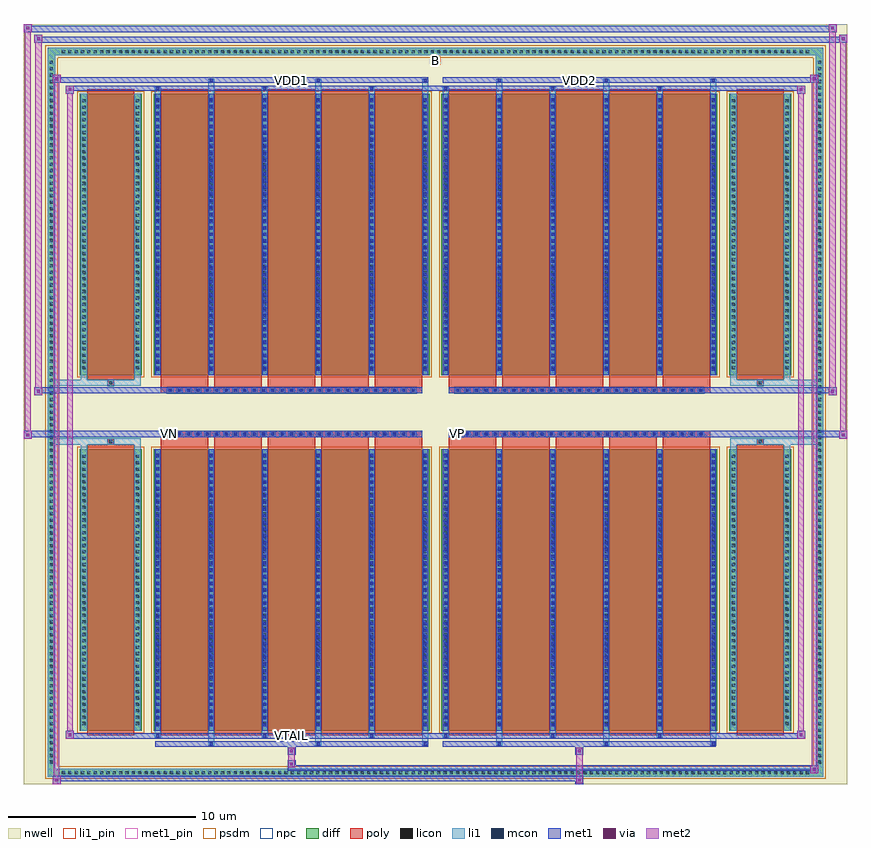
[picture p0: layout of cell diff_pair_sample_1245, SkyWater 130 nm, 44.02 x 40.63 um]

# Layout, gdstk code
import gdstk
lib = gdstk.Library(unit=1e-6, precision=5e-09)
def R(c, l, rs):  # rectangles x0, y0, x1, y1
    for r in rs: c.add(gdstk.rectangle(r[:2], r[2:], *l))
def A(c, l, x, y, w, h, nx, ny, dx, dy):  # array of equal rectangles
    R(c, l, [(x+i*dx, y+j*dy, x+i*dx+w, y+j*dy+h) for i in range(nx) for j in range(ny)])
def P(c, l, *ps):  # polygons
    for p in ps: c.add(gdstk.Polygon(p, *l))
nwell = (64, 20)
diff = (65, 20)
poly = (66, 20)
licon = (66, 44)
li1_pin = (67, 16)
li1 = (67, 20)
mcon = (67, 44)
met1_pin = (68, 16)
met1 = (68, 20)
via = (68, 44)
met2 = (69, 20)
psdm = (94, 20)
npc = (95, 20)

diff_pair_sample_1245 = lib.new_cell('diff_pair_sample_1245')
R(diff_pair_sample_1245, nwell, [(-22.01,-19.88,22.01,20.75), (-19.33,-18.07,-0.01,-0.805), (0.01,-18.07,19.33,-0.805), (-19.33,0.805,-0.01,18.07), (0.01,0.805,19.33,18.07)])
A(diff_pair_sample_1245, diff, -20.095, -19.48, 0.41, 0.41, 118, 2, 0.34, 38.55)
A(diff_pair_sample_1245, diff, -20.74, -18.905, 0.41, 0.41, 1, 111, 0, 0.34)
A(diff_pair_sample_1245, diff, 20.33, -18.905, 0.41, 0.41, 1, 111, 0, 0.34)
R(diff_pair_sample_1245, diff, [(-20.095,-19.48,20.095,-19.07), (-20.74,-18.905,-20.33,18.905), (20.33,-18.905,20.74,18.905), (-19.02,-17.025,-15.71,-1.985), (-15.07,-17.025,-0.32,-1.985), (0.32,-17.025,15.07,-1.985), (15.71,-17.025,19.02,-1.985), (-19.02,1.985,-15.71,17.025), (-15.07,1.985,-0.32,17.025), (0.32,1.985,15.07,17.025), (15.71,1.985,19.02,17.025), (-20.095,19.07,20.095,19.48)])
P(diff_pair_sample_1245, diff, [(20.74,19.48),(-20.74,19.48),(-20.74,-19.07),(-20.33,-19.07),(-20.33,19.07),(20.33,19.07),(20.33,-19.07),(-20.33,-19.07),(-20.74,-19.07),(-20.74,-19.48),(20.74,-19.48)])
A(diff_pair_sample_1245, poly, -14.68, -17.275, 2.53, 15.54, 5, 2, 2.86, 19.01)
A(diff_pair_sample_1245, poly, 0.71, -17.275, 2.53, 15.54, 5, 2, 2.86, 19.01)
A(diff_pair_sample_1245, poly, -14.68, -1.735, 2.53, 0.4, 5, 2, 2.86, 3.07)
A(diff_pair_sample_1245, poly, 0.71, -1.735, 2.53, 0.4, 5, 2, 2.86, 3.07)
A(diff_pair_sample_1245, poly, -14.36, -1.335, 0.33, 0.33, 27, 2, 0.5, 2.34)
A(diff_pair_sample_1245, poly, 1.03, -1.335, 0.33, 0.33, 27, 2, 0.5, 2.34)
R(diff_pair_sample_1245, poly, [(-18.63,-17.275,-16.1,-1.735), (16.1,-17.275,18.63,-1.735), (-17.53,-1.735,-17.2,-1.405), (-17.53,-1.735,-17.2,-1.405), (17.2,-1.735,17.53,-1.405), (17.2,-1.735,17.53,-1.405), (-14.68,-1.335,-0.71,-1.005), (0.71,-1.335,14.68,-1.005), (-14.68,1.005,-0.71,1.335), (0.71,1.005,14.68,1.335), (-17.53,1.405,-17.2,1.735), (-17.53,1.405,-17.2,1.735), (17.2,1.405,17.53,1.735), (17.2,1.405,17.53,1.735), (-18.63,1.735,-16.1,17.275), (16.1,1.735,18.63,17.275)])
A(diff_pair_sample_1245, licon, -19.975, -19.36, 0.17, 0.17, 118, 2, 0.34, 38.55)
A(diff_pair_sample_1245, licon, -20.62, -18.785, 0.17, 0.17, 1, 111, 0, 0.34)
A(diff_pair_sample_1245, licon, 20.45, -18.785, 0.17, 0.17, 1, 111, 0, 0.34)
A(diff_pair_sample_1245, licon, -18.88, -16.73, 0.17, 0.17, 1, 43, 0, 0.34)
A(diff_pair_sample_1245, licon, -16.02, -16.73, 0.17, 0.17, 1, 43, 0, 0.34)
A(diff_pair_sample_1245, licon, -14.93, -16.73, 0.17, 0.17, 6, 43, 2.86, 0.34)
A(diff_pair_sample_1245, licon, 0.46, -16.73, 0.17, 0.17, 6, 43, 2.86, 0.34)
A(diff_pair_sample_1245, licon, 15.85, -16.73, 0.17, 0.17, 1, 43, 0, 0.34)
A(diff_pair_sample_1245, licon, 18.71, -16.73, 0.17, 0.17, 1, 43, 0, 0.34)
A(diff_pair_sample_1245, licon, -14.28, -1.255, 0.17, 0.17, 27, 2, 0.5, 2.34)
A(diff_pair_sample_1245, licon, 1.11, -1.255, 0.17, 0.17, 27, 2, 0.5, 2.34)
A(diff_pair_sample_1245, licon, -18.88, 2.28, 0.17, 0.17, 1, 43, 0, 0.34)
A(diff_pair_sample_1245, licon, -16.02, 2.28, 0.17, 0.17, 1, 43, 0, 0.34)
A(diff_pair_sample_1245, licon, -14.93, 2.28, 0.17, 0.17, 6, 43, 2.86, 0.34)
A(diff_pair_sample_1245, licon, 0.46, 2.28, 0.17, 0.17, 6, 43, 2.86, 0.34)
A(diff_pair_sample_1245, licon, 15.85, 2.28, 0.17, 0.17, 1, 43, 0, 0.34)
A(diff_pair_sample_1245, licon, 18.71, 2.28, 0.17, 0.17, 1, 43, 0, 0.34)
R(diff_pair_sample_1245, licon, [(-17.45,-1.655,-17.28,-1.485), (17.28,-1.655,17.45,-1.485), (-17.45,1.485,-17.28,1.655), (17.28,1.485,17.45,1.655)])
R(diff_pair_sample_1245, li1_pin, [(-0.25,18.57,0.25,19.07)])
A(diff_pair_sample_1245, li1, -20.055, -19.44, 0.33, 0.33, 118, 2, 0.34, 38.55)
A(diff_pair_sample_1245, li1, -20.7, -18.865, 0.33, 0.33, 1, 111, 0, 0.34)
A(diff_pair_sample_1245, li1, 20.37, -18.865, 0.33, 0.33, 1, 111, 0, 0.34)
A(diff_pair_sample_1245, li1, -12.15, -17.83, 0.33, 0.805, 3, 2, 5.72, 34.855)
A(diff_pair_sample_1245, li1, -12.07, -17.83, 0.17, 0.17, 3, 2, 5.72, 35.49)
A(diff_pair_sample_1245, li1, 3.24, -17.83, 0.33, 0.805, 3, 2, 5.72, 34.855)
A(diff_pair_sample_1245, li1, 3.32, -17.83, 0.17, 0.17, 3, 2, 5.72, 35.49)
A(diff_pair_sample_1245, li1, -15.01, -17.4, 0.33, 0.375, 3, 2, 5.72, 34.425)
A(diff_pair_sample_1245, li1, -14.93, -17.4, 0.17, 0.17, 3, 2, 5.72, 34.63)
A(diff_pair_sample_1245, li1, 0.38, -17.4, 0.33, 0.375, 3, 2, 5.72, 34.425)
A(diff_pair_sample_1245, li1, 0.46, -17.4, 0.17, 0.17, 3, 2, 5.72, 34.63)
A(diff_pair_sample_1245, li1, -15.01, -17.025, 0.33, 15.04, 6, 2, 2.86, 19.01)
A(diff_pair_sample_1245, li1, 0.38, -17.025, 0.33, 15.04, 6, 2, 2.86, 19.01)
A(diff_pair_sample_1245, li1, -18.96, -16.81, 0.33, 0.33, 1, 43, 0, 0.34)
A(diff_pair_sample_1245, li1, -16.1, -16.81, 0.33, 0.33, 1, 43, 0, 0.34)
A(diff_pair_sample_1245, li1, -15.01, -16.81, 0.33, 0.33, 6, 43, 2.86, 0.34)
A(diff_pair_sample_1245, li1, 0.38, -16.81, 0.33, 0.33, 6, 43, 2.86, 0.34)
A(diff_pair_sample_1245, li1, 15.77, -16.81, 0.33, 0.33, 1, 43, 0, 0.34)
A(diff_pair_sample_1245, li1, 18.63, -16.81, 0.33, 0.33, 1, 43, 0, 0.34)
A(diff_pair_sample_1245, li1, -14.93, -16.79, 0.17, 0.17, 6, 41, 2.86, 0.36)
A(diff_pair_sample_1245, li1, -14.93, -16.79, 0.17, 14.57, 6, 2, 2.86, 19.01)
A(diff_pair_sample_1245, li1, 0.46, -16.79, 0.17, 0.17, 6, 41, 2.86, 0.36)
A(diff_pair_sample_1245, li1, 0.46, -16.79, 0.17, 14.57, 6, 2, 2.86, 19.01)
A(diff_pair_sample_1245, li1, -14.36, -1.335, 0.33, 0.33, 27, 2, 0.5, 2.34)
A(diff_pair_sample_1245, li1, 1.03, -1.335, 0.33, 0.33, 27, 2, 0.5, 2.34)
A(diff_pair_sample_1245, li1, -18.96, 2.2, 0.33, 0.33, 1, 43, 0, 0.34)
A(diff_pair_sample_1245, li1, -16.1, 2.2, 0.33, 0.33, 1, 43, 0, 0.34)
A(diff_pair_sample_1245, li1, -15.01, 2.2, 0.33, 0.33, 6, 43, 2.86, 0.34)
A(diff_pair_sample_1245, li1, 0.38, 2.2, 0.33, 0.33, 6, 43, 2.86, 0.34)
A(diff_pair_sample_1245, li1, 15.77, 2.2, 0.33, 0.33, 1, 43, 0, 0.34)
A(diff_pair_sample_1245, li1, 18.63, 2.2, 0.33, 0.33, 1, 43, 0, 0.34)
A(diff_pair_sample_1245, li1, -14.93, 2.22, 0.17, 0.17, 6, 41, 2.86, 0.36)
A(diff_pair_sample_1245, li1, 0.46, 2.22, 0.17, 0.17, 6, 41, 2.86, 0.36)
R(diff_pair_sample_1245, li1, [(-20.74,-19.48,-20.33,-19.07), (-20.74,-19.48,-20.33,-19.07), (-20.33,-19.48,20.33,-19.07), (20.33,-19.48,20.74,-19.07), (20.33,-19.48,20.74,-19.07), (-20.74,-19.07,-20.33,19.07), (20.33,-19.07,20.74,19.07), (-18.96,-17.025,-18.63,-1.985), (-16.1,-17.025,-15.77,-1.985), (15.77,-17.025,16.1,-1.985), (18.63,-17.025,18.96,-1.985), (-18.96,-1.985,-18.63,-1.405), (-16.1,-1.985,-15.77,-1.405), (15.77,-1.985,16.1,-1.405), (18.63,-1.985,18.96,-1.405), (-20.74,-1.735,-17.53,-1.405), (-18.96,-1.735,-17.53,-1.405), (-17.53,-1.735,-17.2,-1.405), (-17.2,-1.735,-15.77,-1.405), (15.77,-1.735,17.2,-1.405), (17.2,-1.735,17.53,-1.405), (17.2,-1.735,20.74,-1.405), (17.53,-1.735,18.96,-1.405), (-20.74,1.405,-17.53,1.735), (-18.96,1.405,-17.53,1.735), (-18.96,1.405,-18.63,1.985), (-17.53,1.405,-17.2,1.735), (-17.2,1.405,-15.77,1.735), (-16.1,1.405,-15.77,1.985), (15.77,1.405,17.2,1.735), (15.77,1.405,16.1,1.985), (17.2,1.405,17.53,1.735), (17.2,1.405,20.74,1.735), (17.53,1.405,18.96,1.735), (18.63,1.405,18.96,1.985), (-18.96,1.985,-18.63,17.025), (-16.1,1.985,-15.77,17.025), (15.77,1.985,16.1,17.025), (18.63,1.985,18.96,17.025), (-20.74,19.07,-20.33,19.48), (-20.74,19.07,-20.33,19.48), (-20.33,19.07,20.33,19.48), (20.33,19.07,20.74,19.48), (20.33,19.07,20.74,19.48)])
A(diff_pair_sample_1245, mcon, -12.07, -17.83, 0.17, 0.17, 3, 2, 5.72, 35.49)
A(diff_pair_sample_1245, mcon, 3.32, -17.83, 0.17, 0.17, 3, 2, 5.72, 35.49)
A(diff_pair_sample_1245, mcon, -14.93, -17.4, 0.17, 0.17, 3, 2, 5.72, 34.63)
A(diff_pair_sample_1245, mcon, 0.46, -17.4, 0.17, 0.17, 3, 2, 5.72, 34.63)
A(diff_pair_sample_1245, mcon, -14.93, -16.79, 0.17, 0.17, 6, 41, 2.86, 0.36)
A(diff_pair_sample_1245, mcon, 0.46, -16.79, 0.17, 0.17, 6, 41, 2.86, 0.36)
A(diff_pair_sample_1245, mcon, -14.28, -1.255, 0.17, 0.17, 27, 2, 0.5, 2.34)
A(diff_pair_sample_1245, mcon, 1.11, -1.255, 0.17, 0.17, 27, 2, 0.5, 2.34)
A(diff_pair_sample_1245, mcon, -14.93, 2.22, 0.17, 0.17, 6, 41, 2.86, 0.36)
A(diff_pair_sample_1245, mcon, 0.46, 2.22, 0.17, 0.17, 6, 41, 2.86, 0.36)
R(diff_pair_sample_1245, met1_pin, [(-7.83,-17.44,-7.56,-17.17), (-14.33,-1.295,-14.06,-1.025), (1.06,-1.295,1.33,-1.025), (-7.83,17.62,-7.56,17.89), (7.56,17.62,7.83,17.89)])
A(diff_pair_sample_1245, met1, -12.13, -17.89, 0.29, 0.29, 3, 2, 5.72, 35.49)
A(diff_pair_sample_1245, met1, 3.26, -17.89, 0.29, 0.29, 3, 2, 5.72, 35.49)
A(diff_pair_sample_1245, met1, -14.99, -17.46, 0.29, 0.29, 3, 2, 5.72, 34.63)
A(diff_pair_sample_1245, met1, 0.4, -17.46, 0.29, 0.29, 3, 2, 5.72, 34.63)
A(diff_pair_sample_1245, met1, -14.99, -17.025, 0.29, 15.04, 6, 2, 2.86, 19.01)
A(diff_pair_sample_1245, met1, 0.4, -17.025, 0.29, 15.04, 6, 2, 2.86, 19.01)
A(diff_pair_sample_1245, met1, -14.99, -16.85, 0.29, 0.29, 6, 41, 2.86, 0.36)
A(diff_pair_sample_1245, met1, 0.4, -16.85, 0.29, 0.29, 6, 41, 2.86, 0.36)
A(diff_pair_sample_1245, met1, -14.34, -1.315, 0.29, 0.29, 27, 2, 0.5, 2.34)
A(diff_pair_sample_1245, met1, 1.05, -1.315, 0.29, 0.29, 27, 2, 0.5, 2.34)
A(diff_pair_sample_1245, met1, -14.99, 2.16, 0.29, 0.29, 6, 41, 2.86, 0.36)
A(diff_pair_sample_1245, met1, 0.4, 2.16, 0.29, 0.29, 6, 41, 2.86, 0.36)
R(diff_pair_sample_1245, met1, [(-20.47,-19.88,-20.04,-19.45), (7.48,-19.88,7.91,-19.45), (-20.47,-19.74,7.91,-19.45), (20.04,-19.31,20.47,-18.88), (-7.91,-19.17,20.47,-18.88), (-7.91,-19.03,-7.48,-18.6), (-7.91,-18.32,-7.48,-17.89), (7.48,-18.32,7.91,-17.89), (-14.99,-17.89,-0.4,-17.6), (0.4,-17.89,14.99,-17.6), (-19.76,-17.46,-19.33,-17.03), (-19.76,-17.46,-14.99,-17.17), (-14.99,-17.46,-0.4,-17.17), (-0.4,-17.46,0.4,-17.17), (0.4,-17.46,14.99,-17.17), (14.99,-17.46,19.76,-17.17), (19.33,-17.46,19.76,-17.03), (-22.01,-1.435,-21.58,-1.005), (21.58,-1.435,22.01,-1.005), (-22.01,-1.335,-0.71,-1.005), (-14.68,-1.335,-0.71,-1.005), (0.71,-1.335,14.68,-1.005), (0.71,-1.335,22.01,-1.005), (-21.44,0.905,-21.01,1.335), (21.01,0.905,21.44,1.335), (-21.44,1.005,-14.68,1.335), (-14.68,1.005,-0.71,1.335), (0.71,1.005,14.68,1.335), (14.68,1.005,21.44,1.335), (-19.76,17.03,-19.33,17.46), (19.33,17.03,19.76,17.46), (-19.76,17.17,-14.99,17.46), (-14.99,17.17,-0.4,17.46), (-0.4,17.17,0.4,17.46), (0.4,17.17,14.99,17.46), (14.99,17.17,19.76,17.46), (-20.47,17.6,-20.04,18.03), (-20.47,17.6,-14.99,17.89), (-14.99,17.6,-0.4,17.89), (0.4,17.6,14.99,17.89), (14.99,17.6,20.47,17.89), (20.04,17.6,20.47,18.03), (-21.44,19.75,-21.01,20.18), (-21.44,19.75,-19.33,20.08), (-19.33,19.75,19.33,20.08), (19.33,19.75,22.01,20.08), (21.58,19.75,22.01,20.18), (-22.01,20.32,-21.58,20.75), (-22.01,20.32,-19.33,20.65), (-19.33,20.32,19.33,20.65), (19.33,20.32,21.44,20.65), (21.01,20.32,21.44,20.75)])
R(diff_pair_sample_1245, via, [(-20.33,-19.74,-20.18,-19.59), (7.62,-19.74,7.77,-19.59), (20.18,-19.17,20.33,-19.02), (-7.77,-18.89,-7.62,-18.74), (-7.77,-18.18,-7.62,-18.03), (7.62,-18.18,7.77,-18.03), (-19.62,-17.32,-19.47,-17.17), (19.47,-17.32,19.62,-17.17), (-21.87,-1.295,-21.72,-1.145), (21.72,-1.295,21.87,-1.145), (-21.3,1.045,-21.15,1.195), (21.15,1.045,21.3,1.195), (-19.62,17.17,-19.47,17.32), (19.47,17.17,19.62,17.32), (-20.33,17.74,-20.18,17.89), (20.18,17.74,20.33,17.89), (-21.3,19.89,-21.15,20.04), (21.72,19.89,21.87,20.04), (-21.87,20.46,-21.72,20.61), (21.15,20.46,21.3,20.61)])
R(diff_pair_sample_1245, met2, [(-20.47,-19.88,-20.04,-19.45), (-20.4,-19.88,-20.11,18.03), (-20.11,-19.88,-20.04,-19.45), (-20.42,-19.83,-20.09,-19.5), (7.53,-19.83,7.86,-19.5), (7.53,-19.5,7.86,-18.27), (20.04,-19.31,20.47,-18.88), (20.11,-19.31,20.4,18.03), (20.4,-19.31,20.47,-18.88), (20.09,-19.26,20.42,-18.93), (-7.86,-18.98,-7.53,-18.65), (-7.86,-18.65,-7.53,-18.27), (-7.86,-18.27,-7.53,-17.94), (7.53,-18.27,7.86,-17.94), (-19.76,-17.46,-19.33,-17.03), (-19.69,-17.46,-19.4,17.46), (-19.4,-17.46,-19.33,-17.03), (19.33,-17.46,19.76,-17.03), (19.4,-17.46,19.69,17.46), (19.69,-17.46,19.76,-17.03), (-19.71,-17.41,-19.38,-17.08), (19.38,-17.41,19.71,-17.08), (-22.01,-1.435,-21.58,-1.005), (-21.96,-1.435,-21.63,20.75), (-21.63,-1.435,-21.58,-1.005), (21.58,-1.435,22.01,-1.005), (21.63,-1.435,21.96,20.18), (21.96,-1.435,22.01,-1.005), (-21.96,-1.385,-21.63,-1.055), (21.63,-1.385,21.96,-1.055), (-21.44,0.905,-21.01,1.335), (-21.39,0.905,-21.06,20.18), (-21.06,0.905,-21.01,1.335), (21.01,0.905,21.44,1.335), (21.06,0.905,21.39,20.75), (21.39,0.905,21.44,1.335), (-21.39,0.955,-21.06,1.285), (21.06,0.955,21.39,1.285), (-19.76,17.03,-19.33,17.46), (-19.4,17.03,-19.33,17.46), (19.33,17.03,19.76,17.46), (19.69,17.03,19.76,17.46), (-19.71,17.08,-19.38,17.41), (19.38,17.08,19.71,17.41), (-20.47,17.6,-20.04,18.03), (-20.11,17.6,-20.04,18.03), (20.04,17.6,20.47,18.03), (20.4,17.6,20.47,18.03), (-20.42,17.65,-20.09,17.98), (20.09,17.65,20.42,17.98), (-21.44,19.75,-21.01,20.18), (-21.06,19.75,-21.01,20.18), (21.58,19.75,22.01,20.18), (21.96,19.75,22.01,20.18), (-21.39,19.8,-21.06,20.13), (21.63,19.8,21.96,20.13), (-22.01,20.32,-21.58,20.75), (-21.63,20.32,-21.58,20.75), (21.01,20.32,21.44,20.75), (21.39,20.32,21.44,20.75), (-21.96,20.37,-21.63,20.7), (21.06,20.37,21.39,20.7)])
R(diff_pair_sample_1245, psdm, [(-19.15,-17.155,-15.58,-1.855), (-15.2,-17.155,-0.19,-1.855), (0.19,-17.155,15.2,-1.855), (15.58,-17.155,19.15,-1.855), (-19.15,1.855,-15.58,17.155), (-15.2,1.855,-0.19,17.155), (0.19,1.855,15.2,17.155), (15.58,1.855,19.15,17.155)])
P(diff_pair_sample_1245, psdm, [(20.87,19.61),(-20.87,19.61),(-20.87,-18.94),(-20.2,-18.94),(-20.2,18.94),(20.2,18.94),(20.2,-18.94),(-20.2,-18.94),(-20.87,-18.94),(-20.87,-19.61),(20.87,-19.61)])
A(diff_pair_sample_1245, npc, -14.38, -1.355, 0.37, 0.37, 27, 2, 0.5, 2.34)
A(diff_pair_sample_1245, npc, 1.01, -1.355, 0.37, 0.37, 27, 2, 0.5, 2.34)
R(diff_pair_sample_1245, npc, [(-17.55,-1.755,-17.18,-1.385), (17.18,-1.755,17.55,-1.385), (-14.38,-1.355,-13.51,-0.985), (-14.38,-1.355,-13.51,-0.985), (-13.88,-1.355,-13.01,-0.985), (-13.88,-1.355,-13.01,-0.985), (-13.38,-1.355,-12.51,-0.985), (-13.38,-1.355,-12.51,-0.985), (-12.88,-1.355,-12.01,-0.985), (-12.88,-1.355,-12.01,-0.985), (-12.38,-1.355,-11.51,-0.985), (-12.38,-1.355,-11.51,-0.985), (-11.88,-1.355,-11.01,-0.985), (-11.88,-1.355,-11.01,-0.985), (-11.38,-1.355,-10.51,-0.985), (-11.38,-1.355,-10.51,-0.985), (-10.88,-1.355,-10.01,-0.985), (-10.88,-1.355,-10.01,-0.985), (-10.38,-1.355,-9.51,-0.985), (-10.38,-1.355,-9.51,-0.985), (-9.88,-1.355,-9.01,-0.985), (-9.88,-1.355,-9.01,-0.985), (-9.38,-1.355,-8.51,-0.985), (-9.38,-1.355,-8.51,-0.985), (-8.88,-1.355,-8.01,-0.985), (-8.88,-1.355,-8.01,-0.985), (-8.38,-1.355,-7.51,-0.985), (-8.38,-1.355,-7.51,-0.985), (-7.88,-1.355,-7.01,-0.985), (-7.88,-1.355,-7.01,-0.985), (-7.38,-1.355,-6.51,-0.985), (-7.38,-1.355,-6.51,-0.985), (-6.88,-1.355,-6.01,-0.985), (-6.88,-1.355,-6.01,-0.985), (-6.38,-1.355,-5.51,-0.985), (-6.38,-1.355,-5.51,-0.985), (-5.88,-1.355,-5.01,-0.985), (-5.88,-1.355,-5.01,-0.985), (-5.38,-1.355,-4.51,-0.985), (-5.38,-1.355,-4.51,-0.985), (-4.88,-1.355,-4.01,-0.985), (-4.88,-1.355,-4.01,-0.985), (-4.38,-1.355,-3.51,-0.985), (-4.38,-1.355,-3.51,-0.985), (-3.88,-1.355,-3.01,-0.985), (-3.88,-1.355,-3.01,-0.985), (-3.38,-1.355,-2.51,-0.985), (-3.38,-1.355,-2.51,-0.985), (-2.88,-1.355,-2.01,-0.985), (-2.88,-1.355,-2.01,-0.985), (-2.38,-1.355,-1.51,-0.985), (-2.38,-1.355,-1.51,-0.985), (-1.88,-1.355,-1.01,-0.985), (-1.88,-1.355,-1.01,-0.985), (1.01,-1.355,1.88,-0.985), (1.01,-1.355,1.88,-0.985), (1.51,-1.355,2.38,-0.985), (1.51,-1.355,2.38,-0.985), (2.01,-1.355,2.88,-0.985), (2.01,-1.355,2.88,-0.985), (2.51,-1.355,3.38,-0.985), (2.51,-1.355,3.38,-0.985), (3.01,-1.355,3.88,-0.985), (3.01,-1.355,3.88,-0.985), (3.51,-1.355,4.38,-0.985), (3.51,-1.355,4.38,-0.985), (4.01,-1.355,4.88,-0.985), (4.01,-1.355,4.88,-0.985), (4.51,-1.355,5.38,-0.985), (4.51,-1.355,5.38,-0.985), (5.01,-1.355,5.88,-0.985), (5.01,-1.355,5.88,-0.985), (5.51,-1.355,6.38,-0.985), (5.51,-1.355,6.38,-0.985), (6.01,-1.355,6.88,-0.985), (6.01,-1.355,6.88,-0.985), (6.51,-1.355,7.38,-0.985), (6.51,-1.355,7.38,-0.985), (7.01,-1.355,7.88,-0.985), (7.01,-1.355,7.88,-0.985), (7.51,-1.355,8.38,-0.985), (7.51,-1.355,8.38,-0.985), (8.01,-1.355,8.88,-0.985), (8.01,-1.355,8.88,-0.985), (8.51,-1.355,9.38,-0.985), (8.51,-1.355,9.38,-0.985), (9.01,-1.355,9.88,-0.985), (9.01,-1.355,9.88,-0.985), (9.51,-1.355,10.38,-0.985), (9.51,-1.355,10.38,-0.985), (10.01,-1.355,10.88,-0.985), (10.01,-1.355,10.88,-0.985), (10.51,-1.355,11.38,-0.985), (10.51,-1.355,11.38,-0.985), (11.01,-1.355,11.88,-0.985), (11.01,-1.355,11.88,-0.985), (11.51,-1.355,12.38,-0.985), (11.51,-1.355,12.38,-0.985), (12.01,-1.355,12.88,-0.985), (12.01,-1.355,12.88,-0.985), (12.51,-1.355,13.38,-0.985), (12.51,-1.355,13.38,-0.985), (13.01,-1.355,13.88,-0.985), (13.01,-1.355,13.88,-0.985), (13.51,-1.355,14.38,-0.985), (13.51,-1.355,14.38,-0.985), (-14.38,0.985,-13.51,1.355), (-14.38,0.985,-13.51,1.355), (-13.88,0.985,-13.01,1.355), (-13.88,0.985,-13.01,1.355), (-13.38,0.985,-12.51,1.355), (-13.38,0.985,-12.51,1.355), (-12.88,0.985,-12.01,1.355), (-12.88,0.985,-12.01,1.355), (-12.38,0.985,-11.51,1.355), (-12.38,0.985,-11.51,1.355), (-11.88,0.985,-11.01,1.355), (-11.88,0.985,-11.01,1.355), (-11.38,0.985,-10.51,1.355), (-11.38,0.985,-10.51,1.355), (-10.88,0.985,-10.01,1.355), (-10.88,0.985,-10.01,1.355), (-10.38,0.985,-9.51,1.355), (-10.38,0.985,-9.51,1.355), (-9.88,0.985,-9.01,1.355), (-9.88,0.985,-9.01,1.355), (-9.38,0.985,-8.51,1.355), (-9.38,0.985,-8.51,1.355), (-8.88,0.985,-8.01,1.355), (-8.88,0.985,-8.01,1.355), (-8.38,0.985,-7.51,1.355), (-8.38,0.985,-7.51,1.355), (-7.88,0.985,-7.01,1.355), (-7.88,0.985,-7.01,1.355), (-7.38,0.985,-6.51,1.355), (-7.38,0.985,-6.51,1.355), (-6.88,0.985,-6.01,1.355), (-6.88,0.985,-6.01,1.355), (-6.38,0.985,-5.51,1.355), (-6.38,0.985,-5.51,1.355), (-5.88,0.985,-5.01,1.355), (-5.88,0.985,-5.01,1.355), (-5.38,0.985,-4.51,1.355), (-5.38,0.985,-4.51,1.355), (-4.88,0.985,-4.01,1.355), (-4.88,0.985,-4.01,1.355), (-4.38,0.985,-3.51,1.355), (-4.38,0.985,-3.51,1.355), (-3.88,0.985,-3.01,1.355), (-3.88,0.985,-3.01,1.355), (-3.38,0.985,-2.51,1.355), (-3.38,0.985,-2.51,1.355), (-2.88,0.985,-2.01,1.355), (-2.88,0.985,-2.01,1.355), (-2.38,0.985,-1.51,1.355), (-2.38,0.985,-1.51,1.355), (-1.88,0.985,-1.01,1.355), (-1.88,0.985,-1.01,1.355), (1.01,0.985,1.88,1.355), (1.01,0.985,1.88,1.355), (1.51,0.985,2.38,1.355), (1.51,0.985,2.38,1.355), (2.01,0.985,2.88,1.355), (2.01,0.985,2.88,1.355), (2.51,0.985,3.38,1.355), (2.51,0.985,3.38,1.355), (3.01,0.985,3.88,1.355), (3.01,0.985,3.88,1.355), (3.51,0.985,4.38,1.355), (3.51,0.985,4.38,1.355), (4.01,0.985,4.88,1.355), (4.01,0.985,4.88,1.355), (4.51,0.985,5.38,1.355), (4.51,0.985,5.38,1.355), (5.01,0.985,5.88,1.355), (5.01,0.985,5.88,1.355), (5.51,0.985,6.38,1.355), (5.51,0.985,6.38,1.355), (6.01,0.985,6.88,1.355), (6.01,0.985,6.88,1.355), (6.51,0.985,7.38,1.355), (6.51,0.985,7.38,1.355), (7.01,0.985,7.88,1.355), (7.01,0.985,7.88,1.355), (7.51,0.985,8.38,1.355), (7.51,0.985,8.38,1.355), (8.01,0.985,8.88,1.355), (8.01,0.985,8.88,1.355), (8.51,0.985,9.38,1.355), (8.51,0.985,9.38,1.355), (9.01,0.985,9.88,1.355), (9.01,0.985,9.88,1.355), (9.51,0.985,10.38,1.355), (9.51,0.985,10.38,1.355), (10.01,0.985,10.88,1.355), (10.01,0.985,10.88,1.355), (10.51,0.985,11.38,1.355), (10.51,0.985,11.38,1.355), (11.01,0.985,11.88,1.355), (11.01,0.985,11.88,1.355), (11.51,0.985,12.38,1.355), (11.51,0.985,12.38,1.355), (12.01,0.985,12.88,1.355), (12.01,0.985,12.88,1.355), (12.51,0.985,13.38,1.355), (12.51,0.985,13.38,1.355), (13.01,0.985,13.88,1.355), (13.01,0.985,13.88,1.355), (13.51,0.985,14.38,1.355), (13.51,0.985,14.38,1.355), (-17.55,1.385,-17.18,1.755), (17.18,1.385,17.55,1.755)])
diff_pair_sample_1245.add(gdstk.Label('VTAIL', (-7.695,-17.305), layer=68, texttype=5))
diff_pair_sample_1245.add(gdstk.Label('VN', (-14.195,-1.16), layer=68, texttype=5))
diff_pair_sample_1245.add(gdstk.Label('VP', (1.195,-1.16), layer=68, texttype=5))
diff_pair_sample_1245.add(gdstk.Label('B', (0,18.82), layer=67, texttype=5))
diff_pair_sample_1245.add(gdstk.Label('VDD2', (7.695,17.755), layer=68, texttype=5))
diff_pair_sample_1245.add(gdstk.Label('VDD1', (-7.695,17.755), layer=68, texttype=5))

lib.write_gds('diff_pair_sample_1245.gds')
